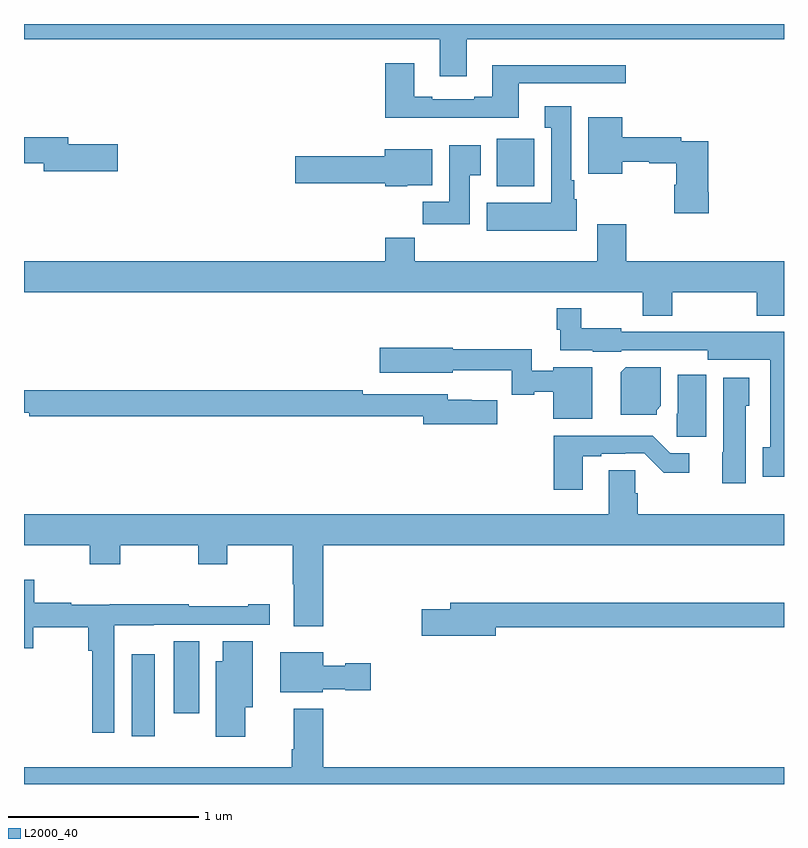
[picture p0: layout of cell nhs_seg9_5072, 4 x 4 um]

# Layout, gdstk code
import gdstk
lib = gdstk.Library(unit=1e-6, precision=1e-09)
def R(c, l, rs):  # rectangles x0, y0, x1, y1
    for r in rs: c.add(gdstk.rectangle(r[:2], r[2:], *l))
def P(c, l, *ps):  # polygons
    for p in ps: c.add(gdstk.Polygon(p, *l))
L2000_40 = (2000, 40)

nhs_seg9_5072 = lib.new_cell('nhs_seg9_5072')
R(nhs_seg9_5072, L2000_40, [(405.566,1192.752,405.688,1193.182), (405.788,1192.872,405.922,1193.252), (407.489,1195.646,407.685,1195.897)])
P(nhs_seg9_5072, L2000_40, [(407.329,1196.42),(409,1196.42),(409,1196.5),(405,1196.5),(405,1196.42),(407.189,1196.42),(407.189,1196.226),(407.329,1196.226)],
  [(407.605,1196.187),(408.166,1196.187),(408.166,1196.284),(407.465,1196.284),(407.465,1196.116),(407.369,1196.116),(407.369,1196.103),(407.149,1196.103),(407.149,1196.116),(407.053,1196.116),(407.053,1196.293),(406.901,1196.293),(406.901,1196.006),(407.605,1196.006)],
  [(407.908,1195.578),(407.896,1195.578),(407.896,1195.678),(407.881,1195.678),(407.881,1196.068),(407.741,1196.068),(407.741,1195.955),(407.774,1195.955),(407.774,1195.558),(407.435,1195.558),(407.435,1195.412),(407.908,1195.412)],
  [(408.605,1195.615),(408.6,1195.615),(408.6,1195.884),(408.458,1195.884),(408.458,1195.904),(408.148,1195.904),(408.148,1196.008),(407.969,1196.008),(407.969,1195.712),(408.148,1195.712),(408.148,1195.776),(408.291,1195.776),(408.291,1195.768),(408.434,1195.768),(408.434,1195.653),(408.422,1195.653),(408.422,1195.503),(408.605,1195.503)],
  [(405.493,1195.868),(405.232,1195.868),(405.232,1195.904),(405,1195.904),(405,1195.768),(405.104,1195.768),(405.104,1195.726),(405.493,1195.726)],
  [(407.347,1195.705),(407.404,1195.705),(407.404,1195.861),(407.237,1195.861),(407.237,1195.564),(407.098,1195.564),(407.098,1195.446),(407.347,1195.446)],
  [(407.016,1195.652),(407.149,1195.652),(407.149,1195.84),(406.898,1195.84),(406.898,1195.805),(406.428,1195.805),(406.428,1195.663),(406.902,1195.663),(406.902,1195.646),(407.016,1195.646)],
  [(408.411,1195.088),(408.856,1195.088),(408.856,1194.965),(409,1194.965),(409,1195.252),(408.17,1195.252),(408.17,1195.447),(408.017,1195.447),(408.017,1195.252),(407.057,1195.252),(407.057,1195.376),(406.901,1195.376),(406.901,1195.252),(405,1195.252),(405,1195.088),(408.256,1195.088),(408.256,1194.964),(408.411,1194.964)],
  [(409,1194.88),(408.661,1194.88),(408.661,1194.879),(408.144,1194.879),(408.144,1194.898),(407.932,1194.898),(407.932,1195.003),(407.803,1195.003),(407.803,1194.89),(407.822,1194.89),(407.822,1194.782),(407.994,1194.782),(407.994,1194.776),(408.144,1194.776),(408.144,1194.783),(408.599,1194.783),(408.599,1194.734),(408.927,1194.734),(408.927,1194.273),(408.887,1194.273),(408.887,1194.117),(409,1194.117)],
  [(407.992,1194.694),(407.786,1194.694),(407.786,1194.676),(407.673,1194.676),(407.673,1194.787),(407.256,1194.787),(407.256,1194.795),(406.872,1194.795),(406.872,1194.665),(407.256,1194.665),(407.256,1194.677),(407.567,1194.677),(407.567,1194.549),(407.685,1194.549),(407.685,1194.565),(407.786,1194.565),(407.786,1194.422),(407.992,1194.422)],
  [(408.33,1194.468),(408.352,1194.49),(408.352,1194.694),(408.166,1194.694),(408.14,1194.668),(408.14,1194.443),(408.33,1194.443)],
  [(408.592,1194.653),(408.44,1194.653),(408.44,1194.45),(408.436,1194.45),(408.436,1194.327),(408.592,1194.327)],
  [(408.799,1194.492),(408.817,1194.492),(408.817,1194.637),(408.68,1194.637),(408.68,1194.246),(408.674,1194.246),(408.674,1194.084),(408.799,1194.084)],
  [(407.491,1194.521),(407.356,1194.521),(407.356,1194.523),(407.23,1194.523),(407.23,1194.552),(406.784,1194.552),(406.784,1194.572),(405,1194.572),(405,1194.455),(405.028,1194.455),(405.028,1194.436),(407.102,1194.436),(407.102,1194.394),(407.491,1194.394)],
  [(407.941,1194.225),(408.037,1194.225),(408.037,1194.237),(408.164,1194.237),(408.164,1194.24),(408.264,1194.24),(408.367,1194.138),(408.502,1194.138),(408.502,1194.24),(408.402,1194.24),(408.308,1194.334),(407.789,1194.334),(407.789,1194.048),(407.941,1194.048)],
  [(406.574,1193.756),(409,1193.756),(409,1193.92),(408.23,1193.92),(408.23,1194.03),(408.216,1194.03),(408.216,1194.152),(408.077,1194.152),(408.077,1193.92),(405,1193.92),(405,1193.756),(405.347,1193.756),(405.347,1193.657),(405.507,1193.657),(405.507,1193.756),(405.916,1193.756),(405.916,1193.657),(406.071,1193.657),(406.071,1193.756),(406.414,1193.756),(406.414,1193.552),(406.421,1193.552),(406.421,1193.331),(406.574,1193.331)],
  [(405.474,1193.336),(405.684,1193.336),(405.684,1193.337),(406.294,1193.337),(406.294,1193.446),(406.181,1193.446),(406.181,1193.436),(405.866,1193.436),(405.866,1193.446),(405.45,1193.446),(405.45,1193.444),(405.248,1193.444),(405.248,1193.455),(405.053,1193.455),(405.053,1193.575),(405,1193.575),(405,1193.214),(405.048,1193.214),(405.048,1193.326),(405.337,1193.326),(405.337,1193.201),(405.358,1193.201),(405.358,1192.77),(405.474,1192.77)],
  [(407.482,1193.326),(409,1193.326),(409,1193.455),(407.243,1193.455),(407.243,1193.421),(407.094,1193.421),(407.094,1193.279),(407.482,1193.279)],
  [(406.165,1192.904),(406.204,1192.904),(406.204,1193.252),(406.046,1193.252),(406.046,1193.146),(406.01,1193.146),(406.01,1192.749),(406.165,1192.749)],
  [(406.572,1193),(406.692,1193),(406.692,1192.993),(406.825,1192.993),(406.825,1193.135),(406.692,1193.135),(406.692,1193.122),(406.576,1193.122),(406.576,1193.194),(406.349,1193.194),(406.349,1192.982),(406.572,1192.982)],
  [(409,1192.588),(406.574,1192.588),(406.574,1192.897),(406.421,1192.897),(406.421,1192.684),(406.409,1192.684),(406.409,1192.588),(405,1192.588),(405,1192.5),(409,1192.5)])

lib.write_gds('nhs_seg9_5072.gds')
